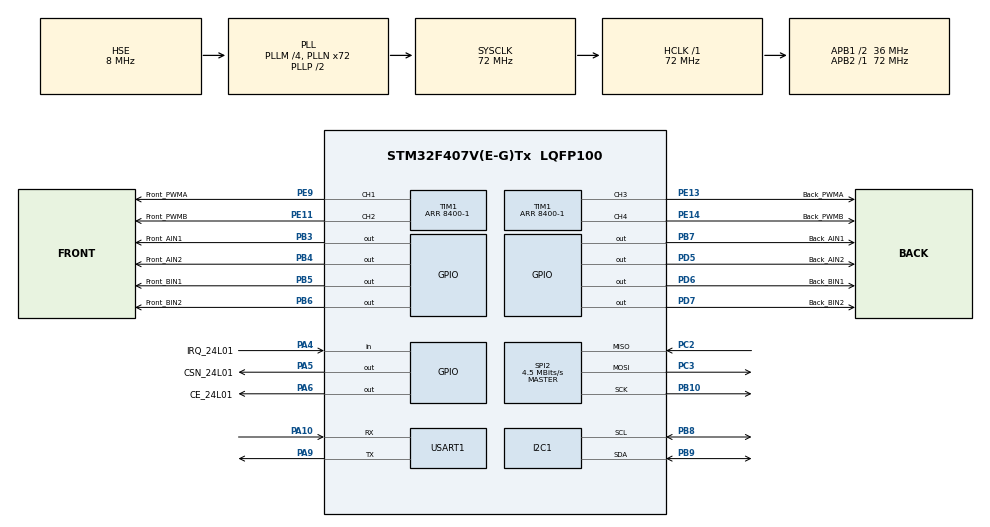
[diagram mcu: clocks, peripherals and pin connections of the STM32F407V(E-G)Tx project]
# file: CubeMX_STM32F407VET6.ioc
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I2C1.I2C_Mode=I2C_Fast
Mcu.Family=STM32F4
Mcu.Name=STM32F407V(E-G)Tx
Mcu.Package=LQFP100
NVIC.PriorityGroup=NVIC_PRIORITYGROUP_4
NVIC.USART1_IRQn=true\:0\:0\:false\:false\:true\:true\:true\:true
PA10.Mode=Asynchronous
PA10.Signal=USART1_RX
PA4.GPIO_Label=IRQ_24L01
PA4.GPIO_PuPd=GPIO_PULLUP
PA4.Signal=GPIO_Input
PA5.GPIO_Label=CSN_24L01
PA5.GPIO_Speed=GPIO_SPEED_FREQ_HIGH
PA5.PinState=GPIO_PIN_SET
PA5.Signal=GPIO_Output
PA6.GPIO_Label=CE_24L01
PA6.GPIO_Speed=GPIO_SPEED_FREQ_HIGH
PA6.PinState=GPIO_PIN_SET
PA6.Signal=GPIO_Output
PA9.Mode=Asynchronous
PA9.Signal=USART1_TX
PB10.Mode=Full_Duplex_Master
PB10.Signal=SPI2_SCK
PB3.GPIO_Label=Front_AIN1
PB3.Signal=GPIO_Output
PB4.GPIO_Label=Front_AIN2
PB4.Signal=GPIO_Output
PB5.GPIO_Label=Front_BIN1
PB5.Signal=GPIO_Output
PB6.GPIO_Label=Front_BIN2
PB6.Signal=GPIO_Output
PB7.GPIO_Label=Back_AIN1
PB7.Signal=GPIO_Output
PB8.Mode=I2C
PB8.Signal=I2C1_SCL
PB9.Mode=I2C
PB9.Signal=I2C1_SDA
PC14-OSC32_IN.Mode=LSE-External-Oscillator
PC14-OSC32_IN.Signal=RCC_OSC32_IN
PC15-OSC32_OUT.Mode=LSE-External-Oscillator
PC15-OSC32_OUT.Signal=RCC_OSC32_OUT
PC2.Mode=Full_Duplex_Master
PC2.Signal=SPI2_MISO
PC3.Mode=Full_Duplex_Master
PC3.Signal=SPI2_MOSI
PD5.GPIO_Label=Back_AIN2
PD5.Signal=GPIO_Output
PD6.GPIO_Label=Back_BIN1
PD6.Signal=GPIO_Output
PD7.GPIO_Label=Back_BIN2
PD7.Signal=GPIO_Output
PE11.GPIO_Label=Front_PWMB
PE11.GPIO_Speed=GPIO_SPEED_FREQ_VERY_HIGH
PE11.Signal=S_TIM1_CH2
PE13.GPIO_Label=Back_PWMA
PE13.GPIO_Speed=GPIO_SPEED_FREQ_VERY_HIGH
PE13.Signal=S_TIM1_CH3
PE14.GPIO_Label=Back_PWMB
PE14.GPIO_Speed=GPIO_SPEED_FREQ_VERY_HIGH
PE14.Signal=S_TIM1_CH4
PE9.GPIO_Label=Front_PWMA
PE9.GPIO_Speed=GPIO_SPEED_FREQ_VERY_HIGH
PE9.Signal=S_TIM1_CH1
PH0-OSC_IN.Mode=HSE-External-Oscillator
PH0-OSC_IN.Signal=RCC_OSC_IN
PH1-OSC_OUT.Mode=HSE-External-Oscillator
PH1-OSC_OUT.Signal=RCC_OSC_OUT
ProjectManager.HeapSize=0x200
ProjectManager.StackSize=0x400
ProjectManager.TargetToolchain=MDK-ARM V5.32
RCC.48MHZClocksFreq_Value=36000000
RCC.AHBFreq_Value=72000000
RCC.APB1CLKDivider=RCC_HCLK_DIV2
RCC.APB1Freq_Value=36000000
RCC.APB1TimFreq_Value=72000000
RCC.APB2Freq_Value=72000000
RCC.APB2TimFreq_Value=72000000
RCC.CortexFreq_Value=72000000
RCC.HCLKFreq_Value=72000000
RCC.HSE_VALUE=8000000
RCC.HSI_VALUE=16000000
RCC.PLLM=4
RCC.PLLN=72
RCC.PLLSourceVirtual=RCC_PLLSOURCE_HSE
RCC.SYSCLKFreq_VALUE=72000000
RCC.SYSCLKSource=RCC_SYSCLKSOURCE_PLLCLK
RCC.VCOOutputFreq_Value=144000000
SH.S_TIM1_CH1.0=TIM1_CH1,PWM Generation1 CH1
SH.S_TIM1_CH2.0=TIM1_CH2,PWM Generation2 CH2
SH.S_TIM1_CH3.0=TIM1_CH3,PWM Generation3 CH3
SH.S_TIM1_CH4.0=TIM1_CH4,PWM Generation4 CH4
SPI2.BaudRatePrescaler=SPI_BAUDRATEPRESCALER_8
SPI2.CalculateBaudRate=4.5 MBits/s
SPI2.Direction=SPI_DIRECTION_2LINES
SPI2.Mode=SPI_MODE_MASTER
SPI2.VirtualType=VM_MASTER
TIM1.Channel-PWM\ Generation1\ CH1=TIM_CHANNEL_1
TIM1.Channel-PWM\ Generation2\ CH2=TIM_CHANNEL_2
TIM1.Channel-PWM\ Generation3\ CH3=TIM_CHANNEL_3
TIM1.Channel-PWM\ Generation4\ CH4=TIM_CHANNEL_4
TIM1.Period=8400-1
USART1.VirtualMode=VM_ASYNC
board=custom

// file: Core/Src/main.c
/* USER CODE BEGIN Header */
/**
 ******************************************************************************
 * @file           : main.c
 * @brief          : Main program body
 ******************************************************************************
 * @attention
 *
 * Copyright (c) 2024 STMicroelectronics.
 * All rights reserved.
 *
 * This software is licensed under terms that can be found in the LICENSE file
 * in the root directory of this software component.
 * If no LICENSE file comes with this software, it is provided AS-IS.
 *
 ******************************************************************************
 */
/* USER CODE END Header */
#include "main.h"
#include "i2c.h"
#include "spi.h"
#include "tim.h"
#include "usart.h"
#include "gpio.h"

/* USER CODE BEGIN Includes */
#include "../../User/Motor/motor.h"
#include "../../User/OLED/oled.h"
/* USER CODE END Includes */

void SystemClock_Config(void);

int main(void)
{

  /* MCU Configuration--------------------------------------------------------*/

  /* Reset of all peripherals, Initializes the Flash interface and the Systick. */
  HAL_Init();

  /* Configure the system clock */
  SystemClock_Config();

  /* Initialize all configured peripherals */
  MX_GPIO_Init();
  MX_TIM1_Init();
  MX_SPI2_Init();
  MX_USART1_UART_Init();
  MX_I2C1_Init();
  /* USER CODE BEGIN 2 */
  HAL_UART_Receive_IT(&huart1, (uint8_t *)&USART1_NewData, 1);

  HAL_TIM_PWM_Start(&htim1, TIM_CHANNEL_1);
  HAL_TIM_PWM_Start(&htim1, TIM_CHANNEL_2);
  HAL_TIM_PWM_Start(&htim1, TIM_CHANNEL_3);
  HAL_TIM_PWM_Start(&htim1, TIM_CHANNEL_4);
  int SPEED = 4000;
  int increment = 100;

  NRF24L01_RX_Start();
  uint16_t *ADC_DATA;

  OLED_Init();
  OLED_Clear();

  /* USER CODE END 2 */

  /* Infinite loop */
  /* USER CODE BEGIN WHILE */
  while (1)
  {

    ADC_DATA = NRF24Lo1_RX_Adjusted_ADC_Data();

    OLED_ShowString(0, 0, "ADC0:", 16);
    OLED_ShowNum(48, 0, ADC_DATA[0], 4, 16);

    OLED_ShowString(0, 2, "ADC1:", 16);
    OLED_ShowNum(48, 2, ADC_DATA[1], 4, 16);

    OLED_ShowString(0, 4, "ADC2:", 16);
    OLED_ShowNum(48, 4, ADC_DATA[2], 4, 16);

    OLED_ShowString(0, 6, "ADC3:", 16);
    OLED_ShowNum(48, 6, ADC_DATA[3], 4, 16);

    // SPEED += increment;
    // if (SPEED == 8400 || SPEED == 0)
    // {
    //   // �? a 达到100�?0时，切换增量的符�?
    //   increment = -increment;
    // }
    // HAL_Delay(100);
    // Set_Speed(SPEED);
    // Directional_Control(Directional_Front);

    // HAL_Delay(1000);
    // Set_Pwm(Front_Left, SPEED);
    // HAL_Delay(1000);
    // Set_Pwm(Front_Left, 0);

    // HAL_Delay(1000);
    // Set_Pwm(Front_Right, SPEED);
    // HAL_Delay(1000);
    // Set_Pwm(Front_Right, 0);

    // HAL_Delay(1000);
    // Set_Pwm(Back_Left, SPEED);
    // HAL_Delay(1000);
    // Set_Pwm(Back_Left, 0);

    // HAL_Delay(1000);
    // Set_Pwm(Back_Right, SPEED);
    // HAL_Delay(1000);
    // Set_Pwm(Back_Right, 0);

    Car_Direction();

    /* USER CODE END WHILE */

  }
}

void SystemClock_Config(void)
{
  RCC_OscInitTypeDef RCC_OscInitStruct = {0};
  RCC_ClkInitTypeDef RCC_ClkInitStruct = {0};

  /** Configure the main internal regulator output voltage
   */
  __HAL_RCC_PWR_CLK_ENABLE();
  __HAL_PWR_VOLTAGESCALING_CONFIG(PWR_REGULATOR_VOLTAGE_SCALE1);

  /** Initializes the RCC Oscillators according to the specified parameters
   * in the RCC_OscInitTypeDef structure.
   */
  RCC_OscInitStruct.OscillatorType = RCC_OSCILLATORTYPE_HSE;
  RCC_OscInitStruct.HSEState = RCC_HSE_ON;
  RCC_OscInitStruct.PLL.PLLState = RCC_PLL_ON;
  RCC_OscInitStruct.PLL.PLLSource = RCC_PLLSOURCE_HSE;
  RCC_OscInitStruct.PLL.PLLM = 4;
  RCC_OscInitStruct.PLL.PLLN = 72;
  RCC_OscInitStruct.PLL.PLLP = RCC_PLLP_DIV2;
  RCC_OscInitStruct.PLL.PLLQ = 4;
  if (HAL_RCC_OscConfig(&RCC_OscInitStruct) != HAL_OK)
  {
    Error_Handler();
  }

  /** Initializes the CPU, AHB and APB buses clocks
   */
  RCC_ClkInitStruct.ClockType = RCC_CLOCKTYPE_HCLK | RCC_CLOCKTYPE_SYSCLK | RCC_CLOCKTYPE_PCLK1 | RCC_CLOCKTYPE_PCLK2;
  RCC_ClkInitStruct.SYSCLKSource = RCC_SYSCLKSOURCE_PLLCLK;
  RCC_ClkInitStruct.AHBCLKDivider = RCC_SYSCLK_DIV1;
  RCC_ClkInitStruct.APB1CLKDivider = RCC_HCLK_DIV2;
  RCC_ClkInitStruct.APB2CLKDivider = RCC_HCLK_DIV1;

  if (HAL_RCC_ClockConfig(&RCC_ClkInitStruct, FLASH_LATENCY_2) != HAL_OK)
  {
    Error_Handler();
  }
}

void Error_Handler(void)
{
  __disable_irq();
  while (1)
  {
  }
}
